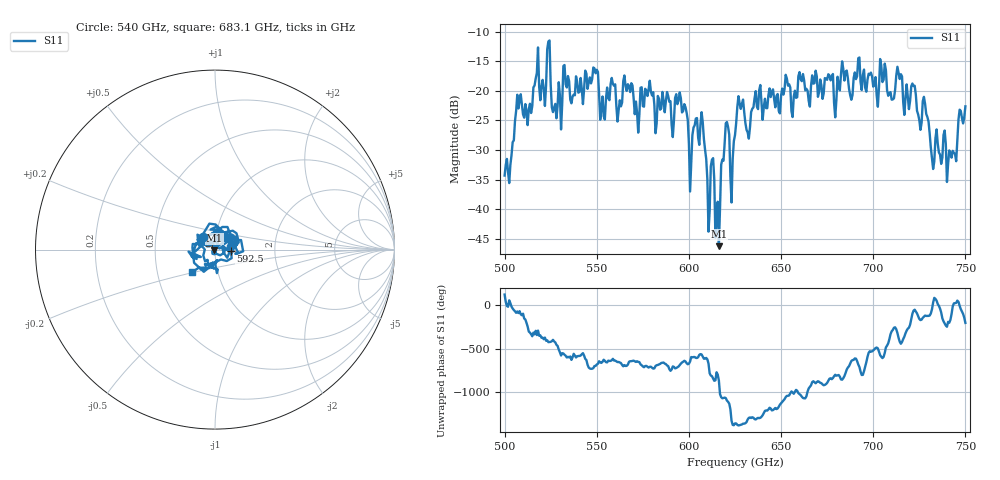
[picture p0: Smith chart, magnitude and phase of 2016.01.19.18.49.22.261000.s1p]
!Created with skrf (http://scikit-rf.org).
# GHz S RI R 50.0
!freq ReS11 ImS11
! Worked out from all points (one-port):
!   401 points, 500 GHz to 750 GHz, reference 50 ohm
!   lowest |S11| = -46.2 dB at 616.2 GHz (marker M1), VSWR 1.01, Z = 49.6 - j0.286 ohm
!   |S11| at or under -10 dB: start of sweep to end of sweep
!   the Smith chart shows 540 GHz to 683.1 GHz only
!   S11 on the Smith chart (normalised r, x): 540 GHz: 0.87, +0.12; 592.5 GHz: 1.19, -0.02; 683.1 GHz: 0.76, -0.19
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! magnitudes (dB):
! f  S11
! 500 GHz  -34.3
! 507.5 GHz  -23.0
! 513.8 GHz  -22.2
! 516.9 GHz  -17.9
! 531.2 GHz  -22.2
! 540 GHz  -20.3
! 562.5 GHz  -21.6
! 565.6 GHz  -19.2
! 571.9 GHz  -23.7
! 592.5 GHz  -21.2
! 593.8 GHz  -22.3
! 601.2 GHz  -32.4
! 607.5 GHz  -25.3
! 610 GHz  -34.9
! 616.2 GHz  -46.2
! 620 GHz  -25.5
! 623.8 GHz  -31.5
! 625 GHz  -27.5
! 628.1 GHz  -23.1
! 631.9 GHz  -27.0
! 637.5 GHz  -23.1
! 656.2 GHz  -24.4
! 683.1 GHz  -15.0
! 687.5 GHz  -20.8
! 705 GHz  -18.5
! 718.8 GHz  -21.0
! 741.2 GHz  -30.1
! 750 GHz  -22.6
